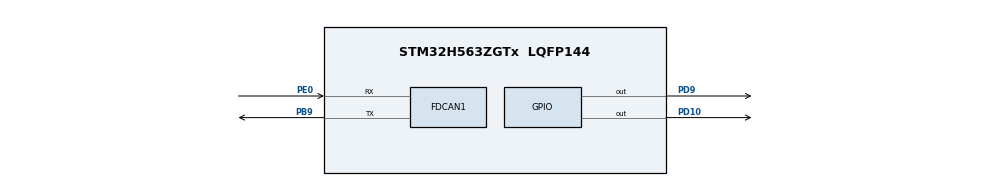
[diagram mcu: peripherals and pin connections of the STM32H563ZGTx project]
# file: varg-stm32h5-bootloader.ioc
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BOOTPATH.BootPathName=LEGACY
BOOTPATH.UserSelectedBootPath=LEGACY
CORTEX_M33_NS.Attributes0=MPU_ATTRIBUTES_NUMBER0
CORTEX_M33_NS.AttributesIndex-Cortex_Memory_Protection_Unit_RegionCortex_Memory_Protection_Unit_Region0_Settings_Settings=MPU_ATTRIBUTES_NUMBER0
CORTEX_M33_NS.CacheableAttribute-Cortex_Memory_Protection_Unit_Region0_Settings=MPU_NOT_CACHEABLE
CORTEX_M33_NS.Enable-Cortex_Memory_Protection_Unit_Region0_Settings=__NULL
CORTEX_M33_NS.MPU_Control=MPU_PRIVILEGED_DEFAULT
CORTEX_M33_NS.Memorytype0=MPU_NOT_CACHEABLE
CORTEX_M33_NS.userName=CORTEX_M33
FDCAN1.AutoRetransmission=ENABLE
FDCAN1.CalculateBaudRateNominal=250000
FDCAN1.CalculateTimeBitNominal=4000
FDCAN1.CalculateTimeQuantumNominal=100.0
FDCAN1.ExtFiltersNbr=8
FDCAN1.NominalPrescaler=24
FDCAN1.NominalTimeSeg1=34
FDCAN1.NominalTimeSeg2=5
FDCAN1.StdFiltersNbr=28
FDCAN1.TransmitPause=ENABLE
Mcu.Family=STM32H5
Mcu.Name=STM32H563ZGTx
Mcu.Package=LQFP144
NVIC.FDCAN1_IT0_IRQn=true\:0\:0\:false\:false\:true\:true\:true\:true
NVIC.PriorityGroup=NVIC_PRIORITYGROUP_4
PA13(JTMS/SWDIO).Mode=JTAG_4_pins
PA13(JTMS/SWDIO).Signal=DEBUG_JTMS-SWDIO
PA14(JTCK/SWCLK).Mode=JTAG_4_pins
PA14(JTCK/SWCLK).Signal=DEBUG_JTCK-SWCLK
PA15(JTDI).Mode=JTAG_4_pins
PA15(JTDI).Signal=DEBUG_JTDI
PB3(JTDO/TRACESWO).Mode=JTAG_4_pins
PB3(JTDO/TRACESWO).Signal=DEBUG_JTDO-SWO
PB9.Mode=FDCAN_Activate
PB9.Signal=FDCAN1_TX
PC14-OSC32_IN(OSC32_IN).Mode=LSE-External-Oscillator
PC14-OSC32_IN(OSC32_IN).Signal=RCC_OSC32_IN
PC15-OSC32_OUT(OSC32_OUT).Mode=LSE-External-Oscillator
PC15-OSC32_OUT(OSC32_OUT).Signal=RCC_OSC32_OUT
PD10.Signal=GPIO_Output
PD9.Signal=GPIO_Output
PE0.Mode=FDCAN_Activate
PE0.Signal=FDCAN1_RX
PH0-OSC_IN(PH0).Mode=HSE-External-Clock-Source
PH0-OSC_IN(PH0).Signal=RCC_OSC_IN
ProjectManager.HeapSize=0x200
ProjectManager.StackSize=0x400
ProjectManager.TargetToolchain=STM32CubeIDE
RCC.ADCFreq_Value=240000000
RCC.AHBFreq_Value=240000000
RCC.APB1Freq_Value=240000000
RCC.APB1TimFreq_Value=240000000
RCC.APB2Freq_Value=240000000
RCC.APB2TimFreq_Value=240000000
RCC.APB3Freq_Value=240000000
RCC.CSI_VALUE=4000000
RCC.CortexFreq_Value=240000000
RCC.DACLowPowerCLockSelection=RCC_DACLPCLKSOURCE_LSI
RCC.EPOD_VALUE=64000000
RCC.FDCANClockSelection=RCC_FDCANCLKSOURCE_PLL1Q
RCC.HCLKFreq_Value=240000000
RCC.HSE_VALUE=25000000
RCC.HSI48_VALUE=48000000
RCC.HSIDiv=RCC_HSI_DIV1
RCC.HSI_VALUE=64000000
RCC.LSIRC_VALUE=32000
RCC.PLL2M=10
RCC.PLL2N=30
RCC.PLL2Source=RCC_PLL2_SOURCE_HSI
RCC.PLL3M=10
RCC.PLL3N=200
RCC.PLL3P=5
RCC.PLL3Q=5
RCC.PLL3Source=RCC_PLL3_SOURCE_HSI
RCC.PLLM=4
RCC.PLLN=30
RCC.PLLSourceVirtual=RCC_PLL1_SOURCE_HSI
RCC.SYSCLKFreq_VALUE=240000000
RCC.SYSCLKSource=RCC_SYSCLKSOURCE_PLLCLK
RCC.USBFreq_Value=48000000
RCC.VCOOutputFreq_Value=480000000
VP_BOOTPATH_VS_BOOTPATH.Mode=BP_Activate
VP_CORTEX_M33_NS_VS_Hclk.Mode=Hclk_Mode
VP_CRC_VS_CRC.Mode=CRC_Activate
VP_MEMORYMAP_VS_MEMORYMAP.Mode=CurAppReg
VP_PWR_VS_DBSignals.Mode=DisableDeadBatterySignals
VP_PWR_VS_LPOM.Mode=PowerOptimisation
VP_PWR_VS_SECSignals.Mode=Security/Privilege
board=custom

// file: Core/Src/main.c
/* USER CODE BEGIN Header */
/**
  ******************************************************************************
  * @file           : main.c
  * @brief          : Main program body
  ******************************************************************************
  * @attention
  *
  * Copyright (c) 2025 STMicroelectronics.
  * All rights reserved.
  *
  * This software is licensed under terms that can be found in the LICENSE file
  * in the root directory of this software component.
  * If no LICENSE file comes with this software, it is provided AS-IS.
  *
  ******************************************************************************
  */
/* USER CODE END Header */
#include "main.h"
#include "crc.h"
#include "fdcan.h"
#include "gpio.h"

/* USER CODE BEGIN Includes */
#include "sf_can_hal.h"
#include "bootloader.h"
#include "sf_bootloader_hal.h"
#include "sf_flash_hal.h"
#include "sf_crc_hal.h"
#include "mem.h"
#include "can_message_handler.h"
#include "sf_timer_hal.h"
#include "sf_charger_led_hal.h"

/* USER CODE END Includes */

/* USER CODE BEGIN PD */
#define STARK_CHARGER 4
#define STARK_INVERTER 5

#define BOARD STARK_CHARGER

#define BOOTLOADER_BTEA_BUFFER_SIZE         0x2000U

#ifndef HW_VERSION
//#error "HW_VERSION needs to be defined"
#define HW_VERSION 0
#endif

#define BOOTLOADER_VERSION                  0x01

#if BOARD == STARK_CHARGER

#define BOOTLOADER_ECU_CODE_ID              4U
const public_key_t public_key = {
		.key = {
				0xc4, 0x05, 0xad, 0xcf, 0xbe, 0x78, 0x79, 0x58, 0x6a, 0xbe, 0x6f, 0x5a, 0x20, 0x27, 0x3f, 0xc9,
				0x4e, 0xf0, 0x7c, 0xc5, 0x7b, 0xbe, 0xcc, 0x43, 0xe9, 0xa0, 0xc3, 0x77, 0x70, 0x0d, 0x69, 0x29,
				0xb6, 0x9d, 0xae, 0xf1, 0x62, 0x3b, 0x5e, 0x90, 0x32, 0x9b, 0x2b, 0x82, 0x71, 0xd4, 0x55, 0x4e,
				0x19, 0x2d, 0xfe, 0x31, 0x0c, 0x1d, 0x7d, 0x11, 0x80, 0xf6, 0x0e, 0x25, 0xaa, 0x2e, 0x82, 0xc7
		}
};
const btea_key_t btea_key = {
    .key = {
        0x474657E4, 0x11AC1600, 0x4577F6F4, 0x56F4387D
    }
};

#elif BOARD == STARK_INVERTER
#define BOOTLOADER_ECU_CODE_ID              5U

const public_key_t public_key = {
		.key = {
				0x6e, 0xe7, 0x68, 0x2d, 0x5e, 0x20, 0xea, 0x16, 0x31, 0x21, 0x17, 0x32, 0x0b, 0x36, 0x70, 0x04,
				0x95, 0x7b, 0x8e, 0xe0, 0x9d, 0x39, 0x02, 0x3c, 0x29, 0xef, 0xb9, 0x3e, 0x1e, 0x45, 0x9c, 0x34,
				0x81, 0x4a, 0x20, 0x32, 0x2e, 0x03, 0xd1, 0x33, 0x32, 0xfd, 0xad, 0x32, 0xe8, 0xaa, 0x36, 0xb3,
				0x02, 0xf6, 0x70, 0xa9, 0x46, 0x7d, 0x04, 0x91, 0x5f, 0x65, 0x9e, 0x4f, 0x25, 0xd6, 0x9d, 0x94
		}
};
const btea_key_t btea_key = {
    .key = {
        0x8296938A, 0x69226073, 0x63D1A473, 0xC8904B38
    }
}

#else
#error "BOARD needs to be defined"
#endif

#define BOOTLOADER_LED_TIME_TOGGLE		1000

#define BOOT_MAGIC 						(0xDEADBEEFu)

/* USER CODE END PD */

/* USER CODE BEGIN PV */
static uint8_t btea_buffer[BOOTLOADER_BTEA_BUFFER_SIZE];

const bootloader_config_t bootloader_config = {
    .device_id = BOOTLOADER_ECU_CODE_ID,
    .btea_buffer = btea_buffer,
    .padding = {
        .num_bytes = MEM_FLASH_WRITE_ALIGNMENT,
        .padding_byte = 0xFF
    },
    .btea_chunk_size = BOOTLOADER_BTEA_BUFFER_SIZE,
    .btea_key = &btea_key,
    .public_key = &public_key,
    .jump_to_app_func = sf_bootloader_hal_jump_to_app,
    .crc32_func = sf_bootloader_hal_crc32_func,
    .log_func = sf_bootloader_hal_log_func,
    .magic = BOOTLOADER_MAGIC,
    .mem_read_func = mem_read,
    .mem_write_func = mem_write,
    .mem_copy_func = mem_copy,
    .send_msg_func = sf_bootloader_hal_send_bootloader_message,
    .max_copy_retries = 3,
    .jump_delay = 200,
};

static uint32_t led_timer = 0;

__attribute__((section(".shared_ram"), used)) volatile uint32_t shared_variable;

typedef struct {
    uint32_t magic_number;  // Magic number to identify the hardware
    uint16_t board_version; // Hardware version (combination of BOARD and HW_VERSION)
    uint16_t crc;           // CRC of the above data
} hardware_info_t;

__attribute__((section(".shared_ram"), used)) volatile hardware_info_t hardware_info;

/* USER CODE END PV */

void SystemClock_Config(void);
static void MPU_Config(void);

/* USER CODE BEGIN 0 */
static inline bool is_software_reset(void)
{
    /* Read RCC->RSR SFTRSTF bit */
    return ((RCC->RSR & RCC_RSR_SFTRSTF) != 0u);
}

static inline void clear_reset_flags(void)
{
    /* Set RMVF bit to clear all reset flags */
    RCC->RSR |= RCC_RSR_RMVF;
}

/* USER CODE END 0 */

int main(void)
{

  /* MCU Configuration--------------------------------------------------------*/

  /* MPU Configuration--------------------------------------------------------*/
  MPU_Config();

  /* Reset of all peripherals, Initializes the Flash interface and the Systick. */
  HAL_Init();

  /* Disable the internal Pull-Up in Dead Battery pins of UCPD peripheral */
  LL_PWR_DisableUCPDDeadBattery();

  /* Configure the system clock */
  SystemClock_Config();

  /* Initialize all configured peripherals */
  MX_GPIO_Init();
  MX_FDCAN1_Init();
  MX_CRC_Init();
  /* USER CODE BEGIN 2 */

  hardware_info.magic_number = 0xACABACAB;
  hardware_info.board_version = (BOARD | (HW_VERSION << 8));

  // Calculate the CRC for the fields `magic_number` and `board_version`
  uint32_t temp_data[2];
  temp_data[0] = hardware_info.magic_number;
  temp_data[1] = hardware_info.board_version;

  hardware_info.crc = sf_crc_compute_crc16_deadbeef( temp_data, sizeof(temp_data));

  /* Write your local variable definition here */
  bool stay_in_bootloader = false;

  if (is_software_reset() && (shared_variable == BOOT_MAGIC)) {
	  stay_in_bootloader = true;
  }

  /* Clear flags so the next reset cause is detectable */
  clear_reset_flags();

  shared_variable = 0u;

  mem_init();

  can_message_handler_init();
  sf_bootloader_hal_init();

  const bootloader_sections_t bootloader_sections = {
		  .app_info = {.address = MEM_APP_INFO_ADDRESS, .size = MEM_APP_INFO_END_ADDRESS - MEM_APP_INFO_ADDRESS },
		  .app = {.address = MEM_APP_START_ADDRESS, .size = MEM_APP_END_ADDRESS - MEM_APP_START_ADDRESS },
		  .upgrade_info = {.address = MEM_UPGRADE_INFO_ADDRESS, .size = MEM_UPGRADE_INFO_END_ADDRESS - MEM_UPGRADE_INFO_ADDRESS },
		  .upgrade = {.address = MEM_UPGRADE_START_ADDRESS, .size = MEM_UPGRADE_END_ADDRESS - MEM_UPGRADE_START_ADDRESS },
  };

  bootloader_init(&bootloader_config, &bootloader_sections);

  if (stay_in_bootloader) {
	  bootloader_stay(true);
  }

  /* USER CODE END 2 */

  /* Infinite loop */
  /* USER CODE BEGIN WHILE */
  while (1)
  {
	  uint8_t app_status = bootloader_app_status();

	  can_message_handler_task(BOOTLOADER_ECU_CODE_ID, app_status, BOOTLOADER_VERSION);
	  uint32_t time = sf_bootloader_hal_get_1ms_counter();
	  bootloader_tick(time);

	  if( (time - led_timer) >= BOOTLOADER_LED_TIME_TOGGLE)
	  {
		  led_timer = sf_bootloader_hal_get_1ms_counter();

		  if( gpio_get( LED1 ) == 0 ) {
			  gpio_set( LED1 );
			  gpio_clear( LED2 );
		  }
		  else
		  {
			  gpio_clear( LED1 );
			  gpio_set( LED2 );
		  }
	  }

    /* USER CODE END WHILE */

  }
}

void SystemClock_Config(void)
{
  LL_FLASH_SetLatency(LL_FLASH_LATENCY_5);
  while(LL_FLASH_GetLatency()!= LL_FLASH_LATENCY_5)
  {
  }

  LL_PWR_SetRegulVoltageScaling(LL_PWR_REGU_VOLTAGE_SCALE0);
  while (LL_PWR_IsActiveFlag_VOS() == 0)
  {
  }
  LL_RCC_HSI_Enable();

   /* Wait till HSI is ready */
  while(LL_RCC_HSI_IsReady() != 1)
  {
  }

  LL_RCC_HSI_SetCalibTrimming(64);
  LL_RCC_HSI_SetDivider(LL_RCC_HSI_DIV_1);
  LL_RCC_PLL1_SetSource(LL_RCC_PLL1SOURCE_HSI);
  LL_RCC_PLL1_SetVCOInputRange(LL_RCC_PLLINPUTRANGE_8_16);
  LL_RCC_PLL1_SetVCOOutputRange(LL_RCC_PLLVCORANGE_WIDE);
  LL_RCC_PLL1_SetM(4);
  LL_RCC_PLL1_SetN(30);
  LL_RCC_PLL1_SetP(2);
  LL_RCC_PLL1_SetQ(2);
  LL_RCC_PLL1_SetR(2);
  LL_RCC_PLL1Q_Enable();
  LL_RCC_PLL1P_Enable();
  LL_RCC_PLL1_Enable();

   /* Wait till PLL is ready */
  while(LL_RCC_PLL1_IsReady() != 1)
  {
  }

  LL_RCC_SetSysClkSource(LL_RCC_SYS_CLKSOURCE_PLL1);

   /* Wait till System clock is ready */
  while(LL_RCC_GetSysClkSource() != LL_RCC_SYS_CLKSOURCE_STATUS_PLL1)
  {
  }

  LL_RCC_SetAHBPrescaler(LL_RCC_SYSCLK_DIV_1);
  LL_RCC_SetAPB1Prescaler(LL_RCC_APB1_DIV_1);
  LL_RCC_SetAPB2Prescaler(LL_RCC_APB2_DIV_1);
  LL_RCC_SetAPB3Prescaler(LL_RCC_APB3_DIV_1);
  LL_SetSystemCoreClock(240000000);

   /* Update the time base */
  if (HAL_InitTick (TICK_INT_PRIORITY) != HAL_OK)
  {
    Error_Handler();
  }
}

 /* MPU Configuration */

void MPU_Config(void)
{

  /* Disables the MPU */
  LL_MPU_Disable();

  /** Initializes and configures the Attribute 0 and the memory to be protected
  */
  LL_MPU_ConfigAttributes(LL_MPU_ATTRIBUTES_NUMBER0, LL_MPU_NOT_CACHEABLE);
  /* Enables the MPU */
  LL_MPU_Enable(LL_MPU_CTRL_PRIVILEGED_DEFAULT);

}

void Error_Handler(void)
{
  __disable_irq();
  while (1)
  {
  }
}
